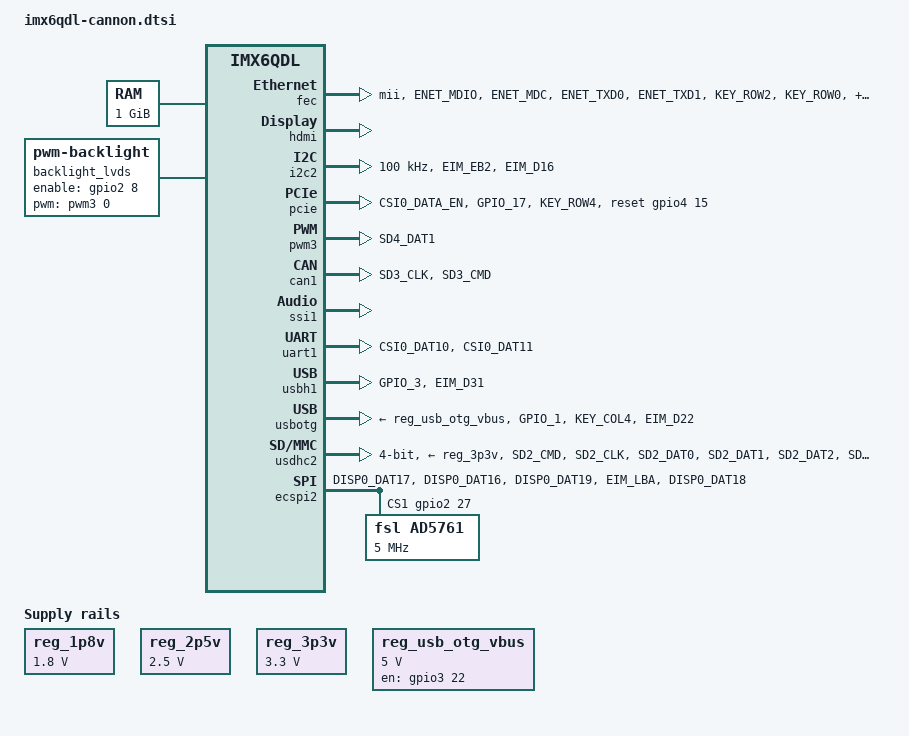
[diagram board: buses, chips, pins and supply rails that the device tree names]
/*
 * Copyright (c) Automata GmbH & Co. KG
 * Author: Hichem Ben Fekih <hfekih@cannon.com>
 */
/ {

	aliases {
		mxcfb0 = &mxcfb1;
		mxcfb1 = &mxcfb2;
	};

	memory {
		reg = <0x10000000 0x40000000>;
	};


	regulators {
		compatible = "simple-bus";

		reg_1p8v: 1p8v {
			compatible = "regulator-fixed";
			regulator-name = "1P8V";
			regulator-min-microvolt = <1800000>;
			regulator-max-microvolt = <1800000>;
			regulator-always-on;
		};

		reg_2p5v: 2p5v {
			compatible = "regulator-fixed";
			regulator-name = "2P5V";
			regulator-min-microvolt = <2500000>;
			regulator-max-microvolt = <2500000>;
			regulator-always-on;
		};

		reg_3p3v: 3p3v {
			compatible = "regulator-fixed";
			regulator-name = "3P3V";
			regulator-min-microvolt = <3300000>;
			regulator-max-microvolt = <3300000>;
			regulator-always-on;
		};

		reg_usb_otg_vbus: usb_otg_vbus {
			compatible = "regulator-fixed";
			regulator-name = "usb_otg_vbus";
			regulator-min-microvolt = <5000000>;
			regulator-max-microvolt = <5000000>;
			enable-active-high;
			gpio = <&gpio3 22 0>;
		};
	};


	

#if 0
	sound {
		compatible = "fsl,imx6-wandboard-sgtl5000", 
                             "fsl,imx-audio-sgtl5000";
		model = "sgtl5000-audio";
		cpu-dai = <&ssi1>;
		audio-codec = <&codec>;
		audio-routing =
			"MIC_IN", "Mic Jack",
			"Mic Jack", "Mic Bias",
			"Headphone Jack", "HP_OUT";
		mux-int-port = <1>;
		mux-ext-port = <3>;
	};

    sound-spdif {
            compatible = "fsl,imx-audio-spdif";
            model = "imx-spdif";
            spdif-controller = <&spdif>;
            spdif-out;
    };

	sound-hdmi {
		compatible = "fsl,imx6q-audio-hdmi",
			     "fsl,imx-audio-hdmi";
		model = "imx-audio-hdmi";
		hdmi-controller = <&hdmi_audio>;
	};

#endif
	
	mxcfb1: fb@0 {
		compatible = "fsl,mxc_sdc_fb";
		disp_dev = "ldb";
		interface_pix_fmt = "RGB24";
		default_bpp = <32>;
		int_clk = <0>;
		late_init = <0>;
		status = "okay";
	};

    mxcfb2: fb@1 {
		compatible = "fsl,mxc_sdc_fb";
		disp_dev = "hdmi";
		interface_pix_fmt = "RGB24";
		mode_str ="1920x1080M@60";
		default_bpp = <32>;
		int_clk = <0>;
		late_init = <0>;
		status = "okay";
    };

	backlight_lvds {
		compatible = "pwm-backlight";
		pwms = <&pwm3 0 5000000>;
		brightness-levels = <0 4 8 16 32 64 128 255>;
		default-brightness-level = <7>;
		enable-gpios = <&gpio2 8 0>;
	};

#if 0
	v4l2_cap_0 {
		compatible = "fsl,imx6q-v4l2-capture";
		ipu_id = <0>;
		csi_id = <0>;
		mclk_source = <0>;
		status = "okay";
	};

	v4l2_out {
		compatible = "fsl,mxc_v4l2_output";
		status = "okay";
	};
#endif
};

#if 0
&audmux {
	pinctrl-names = "default";
	pinctrl-0 = <&pinctrl_audmux_2>;
	status = "okay";
};
#endif

&fec {
	pinctrl-names = "default";
	pinctrl-0 = <&pinctrl_enet>;
	phy-mode = "mii";
	status = "okay";
};




&hdmi {
	ddc-i2c-bus = <&i2c2>;
	status = "okay";
};

&i2c2 {
	clock-frequency = <100000>;
	pinctrl-names = "default";
	pinctrl-0 = <&pinctrl_i2c2>;
	status = "okay";
};


/*
For reference here, the PAD_CTL bitfield definition from
Documentation/devicetree/bindings/pinctrl/fsl,imx6q-pinctrl.txt

CONFIG bits definition:
PAD_CTL_HYS                     (1 << 16)
PAD_CTL_PUS_100K_DOWN           (0 << 14)
PAD_CTL_PUS_47K_UP              (1 << 14)
PAD_CTL_PUS_100K_UP             (2 << 14)
PAD_CTL_PUS_22K_UP              (3 << 14)
PAD_CTL_PUE                     (1 << 13)
PAD_CTL_PKE                     (1 << 12)
PAD_CTL_ODE                     (1 << 11)
PAD_CTL_SPEED_LOW               (1 << 6)
PAD_CTL_SPEED_MED               (2 << 6)
PAD_CTL_SPEED_HIGH              (3 << 6)
PAD_CTL_DSE_DISABLE             (0 << 3)
PAD_CTL_DSE_240ohm              (1 << 3)
PAD_CTL_DSE_120ohm              (2 << 3)
PAD_CTL_DSE_80ohm               (3 << 3)
PAD_CTL_DSE_60ohm               (4 << 3)
PAD_CTL_DSE_48ohm               (5 << 3)
PAD_CTL_DSE_40ohm               (6 << 3)
PAD_CTL_DSE_34ohm               (7 << 3)
PAD_CTL_SRE_FAST                (1 << 0)
PAD_CTL_SRE_SLOW                (0 << 0)

Example, the Control Pad Setting

    0x0f0b0

corresponds to:

   0b1111000010110000

which is:

   PAD_CTL_PUS_22K_UP | PAD_CTL_PUE | PAD_CTL_PKE |
   PAD_CTL_SPEED_MED | PAD_CTL_DSE_40ohm

For more information about this, refer to the IOMUXC section of the i.MX6
reference manual.

*/

&iomuxc {

	pinctrl-names = "default";
	pinctrl-0 = <&pinctrl_hog_1>;

#if 0
	audmux {
		pinctrl_audmux_1: audmux-1 {
			fsl,pins = <
				MX6QDL_PAD_SD2_DAT0__AUD4_RXD  0x130b0
				MX6QDL_PAD_SD2_DAT3__AUD4_TXC  0x130b0
				MX6QDL_PAD_SD2_DAT2__AUD4_TXD  0x110b0
				MX6QDL_PAD_SD2_DAT1__AUD4_TXFS 0x130b0
			>;
		};

		pinctrl_audmux_2: audmux-2 {
			fsl,pins = <
				MX6QDL_PAD_CSI0_DAT7__AUD3_RXD  0x130b0
				MX6QDL_PAD_CSI0_DAT4__AUD3_TXC  0x130b0
				MX6QDL_PAD_CSI0_DAT5__AUD3_TXD  0x110b0
				MX6QDL_PAD_CSI0_DAT6__AUD3_TXFS 0x130b0
			>;
		};

		pinctrl_audmux_3: audmux-3 {
			fsl,pins = <
				MX6QDL_PAD_DISP0_DAT16__AUD5_TXC  0x130b0
				MX6QDL_PAD_DISP0_DAT18__AUD5_TXFS 0x130b0
				MX6QDL_PAD_DISP0_DAT19__AUD5_RXD  0x130b0
			>;
		};
	};

#endif

	ecspi1 {
		pinctrl_ecspi1: ecspi1grp {
			fsl,pins = <
				MX6QDL_PAD_CSI0_DAT6__ECSPI1_MISO 0x100b1
				MX6QDL_PAD_CSI0_DAT5__ECSPI1_MOSI 0x100b1
				MX6QDL_PAD_CSI0_DAT4__ECSPI1_SCLK 0x100b1
				MX6QDL_PAD_CSI0_DAT7__GPIO5_IO25  0x000f0b0
				MX6QDL_PAD_EIM_D19__GPIO3_IO19  0x000f0b0
			>;
		};
	};

	ecspi2 {
		pinctrl_ecspi2: ecspi2grp {
			fsl,pins = <
				MX6QDL_PAD_DISP0_DAT17__ECSPI2_MISO 0x100b1
				MX6QDL_PAD_DISP0_DAT16__ECSPI2_MOSI 0x100b1
				MX6QDL_PAD_DISP0_DAT19__ECSPI2_SCLK 0x100b1
				MX6QDL_PAD_EIM_LBA__GPIO2_IO27  0x000f0b0
				MX6QDL_PAD_DISP0_DAT18__GPIO5_IO12  0x000f0b0
			>;
		};
	};

	ecspi3 {
		pinctrl_ecspi3: ecspi3grp {
			fsl,pins = <
				MX6QDL_PAD_DISP0_DAT2__ECSPI3_MISO 0x100b1
				MX6QDL_PAD_DISP0_DAT1__ECSPI3_MOSI 0x100b1
				MX6QDL_PAD_DISP0_DAT0__ECSPI3_SCLK 0x100b1
				/* cs */
				MX6QDL_PAD_DISP0_DAT3__GPIO4_IO24  0x4001b0b5
			>;
		};
	};

	enet {
		pinctrl_enet: enetgrp {
			fsl,pins = <
				MX6QDL_PAD_ENET_MDIO__ENET_MDIO       0x1b0b0
				MX6QDL_PAD_ENET_MDC__ENET_MDC         0x1b0b0
				MX6QDL_PAD_ENET_TXD0__ENET_TX_DATA0   0x1b0b0
				MX6QDL_PAD_ENET_TXD1__ENET_TX_DATA1   0x1b0b0
				MX6QDL_PAD_KEY_ROW2__ENET_TX_DATA2    0x1b0b0
				MX6QDL_PAD_KEY_ROW0__ENET_TX_DATA3    0x1b0b0
				MX6QDL_PAD_ENET_REF_CLK__ENET_TX_CLK  0x1b0b0
				MX6QDL_PAD_GPIO_18__ENET_RX_CLK       0x1b0b0
				MX6QDL_PAD_ENET_RXD0__ENET_RX_DATA0   0x1b0b0
				MX6QDL_PAD_ENET_RXD1__ENET_RX_DATA1   0x1b0b0
				MX6QDL_PAD_KEY_COL2__ENET_RX_DATA2    0x1b0b0
				MX6QDL_PAD_KEY_COL0__ENET_RX_DATA3    0x1b0b0
				MX6QDL_PAD_ENET_TX_EN__ENET_TX_EN     0x1b0b0
				MX6QDL_PAD_ENET_CRS_DV__ENET_RX_EN    0x1b0b0
				MX6QDL_PAD_ENET_RX_ER__ENET_RX_ER     0x1b0b0
				MX6QDL_PAD_KEY_ROW1__ENET_COL         0x1b0b0
				MX6QDL_PAD_KEY_COL3__ENET_CRS         0x1b0b0
			>;
		};
#if 0
		pinctrl_enet_irq: enetirqgrp {
			fsl,pins = <
				MX6QDL_PAD_GPIO_6__ENET_IRQ	      0x000b1
			>;
		};
#endif
	};

#if 0
	esai {
		pinctrl_esai_1: esaigrp-1 {
			fsl,pins = <
				MX6QDL_PAD_ENET_RXD0__ESAI_TX_HF_CLK 0x1b030
				MX6QDL_PAD_ENET_CRS_DV__ESAI_TX_CLK  0x1b030
				MX6QDL_PAD_ENET_RXD1__ESAI_TX_FS     0x1b030
				MX6QDL_PAD_ENET_TX_EN__ESAI_TX3_RX2  0x1b030
				MX6QDL_PAD_ENET_TXD1__ESAI_TX2_RX3   0x1b030
				MX6QDL_PAD_ENET_TXD0__ESAI_TX4_RX1   0x1b030
				MX6QDL_PAD_ENET_MDC__ESAI_TX5_RX0    0x1b030
				MX6QDL_PAD_NANDF_CS2__ESAI_TX0       0x1b030
				MX6QDL_PAD_NANDF_CS3__ESAI_TX1       0x1b030
			>;
		};

		pinctrl_esai_2: esaigrp-2 {
			fsl,pins = <
				MX6QDL_PAD_ENET_CRS_DV__ESAI_TX_CLK 0x1b030
				MX6QDL_PAD_ENET_RXD1__ESAI_TX_FS    0x1b030
				MX6QDL_PAD_ENET_TX_EN__ESAI_TX3_RX2 0x1b030
				MX6QDL_PAD_GPIO_5__ESAI_TX2_RX3     0x1b030
				MX6QDL_PAD_ENET_TXD0__ESAI_TX4_RX1  0x1b030
				MX6QDL_PAD_ENET_MDC__ESAI_TX5_RX0   0x1b030
				MX6QDL_PAD_GPIO_17__ESAI_TX0        0x1b030
				MX6QDL_PAD_NANDF_CS3__ESAI_TX1      0x1b030
				MX6QDL_PAD_ENET_MDIO__ESAI_RX_CLK   0x1b030
				MX6QDL_PAD_GPIO_9__ESAI_RX_FS       0x1b030
			>;
		};
	};
#endif

	can1 {
		pinctrl_flexcan1: flexcan1grp {
			fsl,pins = <
				MX6QDL_PAD_SD3_CLK__FLEXCAN1_RX 0x80000000
				MX6QDL_PAD_SD3_CMD__FLEXCAN1_TX 0x80000000
			>;
		};
	};


#if 0
	flexcan2 {
		pinctrl_flexcan2_1: flexcan2grp-1 {
			fsl,pins = <
				MX6QDL_PAD_KEY_COL4__FLEXCAN2_TX 0x80000000
				MX6QDL_PAD_KEY_ROW4__FLEXCAN2_RX 0x80000000
			>;
		};
	};

	gpmi-nand {
		pinctrl_gpmi_nand_1: gpmi-nand-1 {
			fsl,pins = <
				MX6QDL_PAD_NANDF_CLE__NAND_CLE     0xb0b1
				MX6QDL_PAD_NANDF_ALE__NAND_ALE     0xb0b1
				MX6QDL_PAD_NANDF_WP_B__NAND_WP_B   0xb0b1
				MX6QDL_PAD_NANDF_RB0__NAND_READY_B 0xb000
				MX6QDL_PAD_NANDF_CS0__NAND_CE0_B   0xb0b1
				MX6QDL_PAD_NANDF_CS1__NAND_CE1_B   0xb0b1
				MX6QDL_PAD_SD4_CMD__NAND_RE_B      0xb0b1
				MX6QDL_PAD_SD4_CLK__NAND_WE_B      0xb0b1
				MX6QDL_PAD_NANDF_D0__NAND_DATA00   0xb0b1
				MX6QDL_PAD_NANDF_D1__NAND_DATA01   0xb0b1
				MX6QDL_PAD_NANDF_D2__NAND_DATA02   0xb0b1
				MX6QDL_PAD_NANDF_D3__NAND_DATA03   0xb0b1
				MX6QDL_PAD_NANDF_D4__NAND_DATA04   0xb0b1
				MX6QDL_PAD_NANDF_D5__NAND_DATA05   0xb0b1
				MX6QDL_PAD_NANDF_D6__NAND_DATA06   0xb0b1
				MX6QDL_PAD_NANDF_D7__NAND_DATA07   0xb0b1
				MX6QDL_PAD_SD4_DAT0__NAND_DQS      0x00b1
			>;
		};
	};
#endif
	hdmi_hdcp {
		pinctrl_hdmi_hdcp_1: hdmihdcpgrp {
			fsl,pins = <
				MX6QDL_PAD_EIM_EB2__HDMI_TX_DDC_SCL 0x4001b8b1
				MX6QDL_PAD_EIM_D16__HDMI_TX_DDC_SDA 0x4001b8b1
			>;
		};
	};

	hdmi_cec {
		pinctrl_hdmi_cec: hdmicecgrp {
			fsl,pins = <
				MX6QDL_PAD_EIM_A25__HDMI_TX_CEC_LINE 0x1f8b0
			>;
		};
	};

	i2c1 {
		pinctrl_i2c1: i2c1grp {
			fsl,pins = <
				MX6QDL_PAD_EIM_D21__I2C1_SCL 0x4001b8b1
				MX6QDL_PAD_EIM_D28__I2C1_SDA 0x4001b8b1
			>;
		};
	};

	i2c2 {
		pinctrl_i2c2: i2c2grp {
			fsl,pins = <
				MX6QDL_PAD_EIM_EB2__I2C2_SCL 0x4001b8b1
				MX6QDL_PAD_EIM_D16__I2C2_SDA 0x4001b8b1
			>;
		};
	};

#if 0
	i2c3 {
		pinctrl_i2c3: i2c3grp {
			fsl,pins = <
				MX6QDL_PAD_GPIO_5__I2C3_SCL  0x4001b8b1
				MX6QDL_PAD_GPIO_16__I2C3_SDA 0x4001b8b1
			>;
		};
	};

	ipu1 {

		pinctrl_ipu1_1: ipu1grp-1 {
			fsl,pins = <
				MX6QDL_PAD_DI0_DISP_CLK__IPU1_DI0_DISP_CLK 0x10
				MX6QDL_PAD_DI0_PIN15__IPU1_DI0_PIN15       0x10
				MX6QDL_PAD_DI0_PIN2__IPU1_DI0_PIN02        0x10
				MX6QDL_PAD_DI0_PIN3__IPU1_DI0_PIN03        0x10
				MX6QDL_PAD_DI0_PIN4__IPU1_DI0_PIN04        0x80000000
				MX6QDL_PAD_DISP0_DAT0__IPU1_DISP0_DATA00   0x10
				MX6QDL_PAD_DISP0_DAT1__IPU1_DISP0_DATA01   0x10
				MX6QDL_PAD_DISP0_DAT2__IPU1_DISP0_DATA02   0x10
				MX6QDL_PAD_DISP0_DAT3__IPU1_DISP0_DATA03   0x10
				MX6QDL_PAD_DISP0_DAT4__IPU1_DISP0_DATA04   0x10
				MX6QDL_PAD_DISP0_DAT5__IPU1_DISP0_DATA05   0x10
				MX6QDL_PAD_DISP0_DAT6__IPU1_DISP0_DATA06   0x10
				MX6QDL_PAD_DISP0_DAT7__IPU1_DISP0_DATA07   0x10
				MX6QDL_PAD_DISP0_DAT8__IPU1_DISP0_DATA08   0x10
				MX6QDL_PAD_DISP0_DAT9__IPU1_DISP0_DATA09   0x10
				MX6QDL_PAD_DISP0_DAT10__IPU1_DISP0_DATA10  0x10
				MX6QDL_PAD_DISP0_DAT11__IPU1_DISP0_DATA11  0x10
				MX6QDL_PAD_DISP0_DAT12__IPU1_DISP0_DATA12  0x10
				MX6QDL_PAD_DISP0_DAT13__IPU1_DISP0_DATA13  0x10
				MX6QDL_PAD_DISP0_DAT14__IPU1_DISP0_DATA14  0x10
				MX6QDL_PAD_DISP0_DAT15__IPU1_DISP0_DATA15  0x10
				MX6QDL_PAD_DISP0_DAT16__IPU1_DISP0_DATA16  0x10
				MX6QDL_PAD_DISP0_DAT17__IPU1_DISP0_DATA17  0x10
				MX6QDL_PAD_DISP0_DAT18__IPU1_DISP0_DATA18  0x10
				MX6QDL_PAD_DISP0_DAT19__IPU1_DISP0_DATA19  0x10
				MX6QDL_PAD_DISP0_DAT20__IPU1_DISP0_DATA20  0x10
				MX6QDL_PAD_DISP0_DAT21__IPU1_DISP0_DATA21  0x10
				MX6QDL_PAD_DISP0_DAT22__IPU1_DISP0_DATA22  0x10
				MX6QDL_PAD_DISP0_DAT23__IPU1_DISP0_DATA23  0x10
			>;
		};

		pinctrl_ipu1_2: ipu1grp-2 { /* parallel camera */
			fsl,pins = <
				MX6QDL_PAD_CSI0_DAT12__IPU1_CSI0_DATA12    0x80000000
				MX6QDL_PAD_CSI0_DAT13__IPU1_CSI0_DATA13    0x80000000
				MX6QDL_PAD_CSI0_DAT14__IPU1_CSI0_DATA14    0x80000000
				MX6QDL_PAD_CSI0_DAT15__IPU1_CSI0_DATA15    0x80000000
				MX6QDL_PAD_CSI0_DAT16__IPU1_CSI0_DATA16    0x80000000
				MX6QDL_PAD_CSI0_DAT17__IPU1_CSI0_DATA17    0x80000000
				MX6QDL_PAD_CSI0_DAT18__IPU1_CSI0_DATA18    0x80000000
				MX6QDL_PAD_CSI0_DAT19__IPU1_CSI0_DATA19    0x80000000
				MX6QDL_PAD_CSI0_DATA_EN__IPU1_CSI0_DATA_EN 0x80000000
				MX6QDL_PAD_CSI0_PIXCLK__IPU1_CSI0_PIXCLK   0x80000000
				MX6QDL_PAD_CSI0_MCLK__IPU1_CSI0_HSYNC      0x80000000
				MX6QDL_PAD_CSI0_VSYNC__IPU1_CSI0_VSYNC     0x80000000
			>;
		};

		pinctrl_ipu1_3: ipu1grp-3 { /* parallel port 16-bit */
			fsl,pins = <
				MX6QDL_PAD_CSI0_DAT4__IPU1_CSI0_DATA04   0x80000000
				MX6QDL_PAD_CSI0_DAT5__IPU1_CSI0_DATA05   0x80000000
				MX6QDL_PAD_CSI0_DAT6__IPU1_CSI0_DATA06   0x80000000
				MX6QDL_PAD_CSI0_DAT7__IPU1_CSI0_DATA07   0x80000000
				MX6QDL_PAD_CSI0_DAT8__IPU1_CSI0_DATA08   0x80000000
				MX6QDL_PAD_CSI0_DAT9__IPU1_CSI0_DATA09   0x80000000
				MX6QDL_PAD_CSI0_DAT10__IPU1_CSI0_DATA10  0x80000000
				MX6QDL_PAD_CSI0_DAT11__IPU1_CSI0_DATA11  0x80000000
				MX6QDL_PAD_CSI0_DAT12__IPU1_CSI0_DATA12  0x80000000
				MX6QDL_PAD_CSI0_DAT13__IPU1_CSI0_DATA13  0x80000000
				MX6QDL_PAD_CSI0_DAT14__IPU1_CSI0_DATA14  0x80000000
				MX6QDL_PAD_CSI0_DAT15__IPU1_CSI0_DATA15  0x80000000
				MX6QDL_PAD_CSI0_DAT16__IPU1_CSI0_DATA16  0x80000000
				MX6QDL_PAD_CSI0_DAT17__IPU1_CSI0_DATA17  0x80000000
				MX6QDL_PAD_CSI0_DAT18__IPU1_CSI0_DATA18  0x80000000
				MX6QDL_PAD_CSI0_DAT19__IPU1_CSI0_DATA19  0x80000000
				MX6QDL_PAD_CSI0_PIXCLK__IPU1_CSI0_PIXCLK 0x80000000
				MX6QDL_PAD_CSI0_MCLK__IPU1_CSI0_HSYNC    0x80000000
				MX6QDL_PAD_CSI0_VSYNC__IPU1_CSI0_VSYNC   0x80000000
			>;
		};

	};

	mlb {
		pinctrl_mlb_1: mlbgrp-1 {
			fsl,pins = <
				MX6QDL_PAD_GPIO_3__MLB_CLK  0x71
				MX6QDL_PAD_GPIO_6__MLB_SIG  0x71
				MX6QDL_PAD_GPIO_2__MLB_DATA 0x71
			>;
		};

		pinctrl_mlb_2: mlbgrp-2 {
			fsl,pins = <
				MX6QDL_PAD_ENET_TXD1__MLB_CLK 0x80000000
				MX6QDL_PAD_GPIO_6__MLB_SIG    0x80000000
				MX6QDL_PAD_GPIO_2__MLB_DATA   0x80000000
			>;
		};
	};

	pwm1 {
		pinctrl_pwm1_1: pwm1grp-1 {
			fsl,pins = <
				MX6QDL_PAD_SD1_DAT3__PWM1_OUT 0x1b0b1
			>;
		};
	};

#endif
	pwm3 {
		pinctrl_pwm3: pwm3grp {
			fsl,pins = <
				MX6QDL_PAD_SD4_DAT1__PWM3_OUT 0x1b0b1
			>;
		};
	};

	uart1 {
		pinctrl_uart1: uart1grp-1 {
			fsl,pins = <
				MX6QDL_PAD_CSI0_DAT10__UART1_TX_DATA 0x1b0b1
				MX6QDL_PAD_CSI0_DAT11__UART1_RX_DATA 0x1b0b1
			>;
		};
	};
#if 0
	spdif {
		pinctrl_spdif_1: spdifgrp-1 {
			fsl,pins = <
				MX6QDL_PAD_KEY_COL3__SPDIF_IN 0x1b0b0
			>;
		};

		pinctrl_spdif_2: spdifgrp-2 {
			fsl,pins = <
				MX6QDL_PAD_GPIO_16__SPDIF_IN  0x1b0b0
				MX6QDL_PAD_GPIO_17__SPDIF_OUT 0x1b0b0
			>;
		};
	};

	uart2 {
		pinctrl_uart2_1: uart2grp-1 {
			fsl,pins = <
				MX6QDL_PAD_EIM_D26__UART2_TX_DATA 0x1b0b1
				MX6QDL_PAD_EIM_D27__UART2_RX_DATA 0x1b0b1
			>;
		};

		pinctrl_uart2_2: uart2grp-2 { /* DTE mode */
			fsl,pins = <
				MX6QDL_PAD_EIM_D26__UART2_RX_DATA   0x1b0b1
				MX6QDL_PAD_EIM_D27__UART2_TX_DATA   0x1b0b1
				MX6QDL_PAD_EIM_D28__UART2_DTE_CTS_B 0x1b0b1
				MX6QDL_PAD_EIM_D29__UART2_DTE_RTS_B 0x1b0b1
			>;
		};
	};

#endif

	uart3 {
		pinctrl_uart3: uart3grp {
			fsl,pins = <
				MX6QDL_PAD_SD4_CLK__UART3_RX_DATA 0x1b0b1
				MX6QDL_PAD_SD4_CMD__UART3_TX_DATA 0x1b0b1
//				MX6QDL_PAD_EIM_D30__UART3_CTS_B   0x1b0b1
//				MX6QDL_PAD_EIM_EB3__UART3_RTS_B   0x1b0b1
			>;
		};
	};

#if 0
	uart4 {
		pinctrl_uart4_1: uart4grp-1 {
			fsl,pins = <
				MX6QDL_PAD_KEY_COL0__UART4_TX_DATA 0x1b0b1
				MX6QDL_PAD_KEY_ROW0__UART4_RX_DATA 0x1b0b1
			>;
		};
	};

	uart5 {
		pinctrl_uart5_1: uart5grp-1 {
			fsl,pins = <
				MX6QDL_PAD_KEY_COL1__UART5_TX_DATA 0x1b0b1
				MX6QDL_PAD_KEY_ROW1__UART5_RX_DATA 0x1b0b1
				MX6QDL_PAD_KEY_COL4__UART5_RTS_B   0x1b0b1
				MX6QDL_PAD_KEY_ROW4__UART5_CTS_B   0x1b0b1
			>;
		};

		pinctrl_uart5dte_1: uart5dtegrp-1 {
			fsl,pins = <
				MX6QDL_PAD_KEY_ROW1__UART5_TX_DATA 0x1b0b1
				MX6QDL_PAD_KEY_COL1__UART5_RX_DATA 0x1b0b1
				MX6QDL_PAD_KEY_ROW4__UART5_RTS_B   0x1b0b1
				MX6QDL_PAD_KEY_COL4__UART5_CTS_B   0x1b0b1
			>;
		};
	};
#endif
	usbotg {
		pinctrl_usbotg: usbotggrp {
			fsl,pins = <
				MX6QDL_PAD_GPIO_1__USB_OTG_ID   0x17059
				MX6QDL_PAD_KEY_COL4__USB_OTG_OC 0x0001B0B0
				MX6QDL_PAD_EIM_D22__GPIO3_IO22  0x80000000
			>;
		};
	};

	usbh1 {
		pinctrl_usbh1: usbh1grp {
			fsl,pins = <
				MX6QDL_PAD_GPIO_3__USB_H1_OC   0x0001B0B0
				MX6QDL_PAD_EIM_D31__USB_H1_PWR 0x000130B0
			>;
		};
	};

#if 0
	usbh2 {
		pinctrl_usbh2_1: usbh2grp-1 {
			fsl,pins = <
				MX6QDL_PAD_RGMII_TXC__USB_H2_DATA      0x40013030
				MX6QDL_PAD_RGMII_TX_CTL__USB_H2_STROBE 0x40013030
			>;
		};

		pinctrl_usbh2_2: usbh2grp-2 {
			fsl,pins = <
				MX6QDL_PAD_RGMII_TX_CTL__USB_H2_STROBE 0x40017030
			>;
		};
	};

	usbh3 {
		pinctrl_usbh3_1: usbh3grp-1 {
			fsl,pins = <
				MX6QDL_PAD_RGMII_RX_CTL__USB_H3_DATA 0x40013030
				MX6QDL_PAD_RGMII_RXC__USB_H3_STROBE  0x40013030
			>;
		};

		pinctrl_usbh3_2: usbh3grp-2 {
			fsl,pins = <
				MX6QDL_PAD_RGMII_RXC__USB_H3_STROBE 0x40017030
			>;
		};
	};

	usdhc1 {
		pinctrl_usdhc1_1: usdhc1grp-1 {
			fsl,pins = <
				MX6QDL_PAD_SD1_CMD__SD1_CMD    0x17071
				MX6QDL_PAD_SD1_CLK__SD1_CLK    0x10071
				MX6QDL_PAD_SD1_DAT0__SD1_DATA0 0x17071
				MX6QDL_PAD_SD1_DAT1__SD1_DATA1 0x17071
				MX6QDL_PAD_SD1_DAT2__SD1_DATA2 0x17071
				MX6QDL_PAD_SD1_DAT3__SD1_DATA3 0x17071
			>;
		};
	};
#endif
	usdhc2 {
		pinctrl_usdhc2_2: usdhc2grp {
			fsl,pins = <
				MX6QDL_PAD_SD2_CMD__SD2_CMD    0x17059
				MX6QDL_PAD_SD2_CLK__SD2_CLK    0x10059
				MX6QDL_PAD_SD2_DAT0__SD2_DATA0 0x17059
				MX6QDL_PAD_SD2_DAT1__SD2_DATA1 0x17059
				MX6QDL_PAD_SD2_DAT2__SD2_DATA2 0x17059
				MX6QDL_PAD_SD2_DAT3__SD2_DATA3 0x17059
			>;
		};
	};

	pcie {
		pinctrl_pcie: pciegrp {
			fsl,pins = <
				MX6QDL_PAD_CSI0_DATA_EN__GPIO5_IO20 0x80000000
				MX6QDL_PAD_GPIO_17__GPIO7_IO12      0x80000000
				MX6QDL_PAD_KEY_ROW4__GPIO4_IO15 0x80000000
			>;
		};
	};

	imx6qdl-wandboard {
		pinctrl_hog_1: hoggrp-1 {
			fsl,pins = <
				MX6QDL_PAD_GPIO_0__CCM_CLKO1     	0x130b0
				MX6QDL_PAD_GPIO_4__GPIO1_IO04		0x80000000	/* USDHC2 CD */
				MX6QDL_PAD_SD4_DAT0__GPIO2_IO08     0x80000000	/* lvds backlight enable */

				/* digital input */
				MX6QDL_PAD_DI0_DISP_CLK__GPIO4_IO16 0x4001b0b5
				MX6QDL_PAD_DI0_PIN15__GPIO4_IO17    0x4001b0b5
				MX6QDL_PAD_DI0_PIN2__GPIO4_IO18     0x4001b0b5
				MX6QDL_PAD_DI0_PIN3__GPIO4_IO19     0x4001b0b5

				/* digital output */
                MX6QDL_PAD_DISP0_DAT4__GPIO4_IO25   0x4001b0b5
                MX6QDL_PAD_DISP0_DAT5__GPIO4_IO26   0x4001b0b5
                MX6QDL_PAD_DISP0_DAT6__GPIO4_IO27   0x4001b0b5
                MX6QDL_PAD_DISP0_DAT8__GPIO4_IO29   0x4001b0b5
                MX6QDL_PAD_DISP0_DAT9__GPIO4_IO30   0x4001b0b5
                MX6QDL_PAD_DISP0_DAT10__GPIO4_IO31  0x4001b0b5
                MX6QDL_PAD_SD3_DAT6__GPIO6_IO18     0x4001b0b5
                MX6QDL_PAD_SD3_DAT7__GPIO6_IO17     0x4001b0b5

				/* leds */
				MX6QDL_PAD_DISP0_DAT12__GPIO5_IO06  0x4001b0b5
                MX6QDL_PAD_GPIO_9__GPIO1_IO09       0x4001b0b5
                MX6QDL_PAD_NANDF_CS2__GPIO6_IO15    0x4001b0b5

				/* dip */
				MX6QDL_PAD_SD3_DAT2__GPIO7_IO06     0x4001b0b5
				MX6QDL_PAD_SD3_DAT3__GPIO7_IO07     0x4001b0b5
				MX6QDL_PAD_EIM_DA4__GPIO3_IO04      0x4001b0b5
				MX6QDL_PAD_EIM_DA7__GPIO3_IO07      0x4001b0b5

				/* gpios */
				MX6QDL_PAD_CSI0_VSYNC__GPIO5_IO21   0x4001b0b5
				MX6QDL_PAD_CSI0_PIXCLK__GPIO5_IO18  0x4001b0b5
				MX6QDL_PAD_KEY_COL1__GPIO4_IO08     0x4001b0b5

				/* hw revision */
				MX6QDL_PAD_DI0_PIN4__GPIO4_IO20     0x4001b0b5
				MX6QDL_PAD_DISP0_DAT7__GPIO4_IO28   0x4001b0b5
				MX6QDL_PAD_DISP0_DAT14__GPIO5_IO08  0x4001b0b5

				/* an output */
				MX6QDL_PAD_SD4_DAT4__GPIO2_IO12     0x4001b0b5
				MX6QDL_PAD_SD4_DAT7__GPIO2_IO15     0x4001b0b5
				MX6QDL_PAD_EIM_CS0__GPIO2_IO23      0x4001b0b5
				MX6QDL_PAD_EIM_CS1__GPIO2_IO24      0x4001b0b5

			>;
		};
	};
};

&ldb {
	status = "disabled";
	lvds-channel@0 {
		crtc = "ipu1-di0";
		fsl,data-mapping = "spwg";
		fsl,data-width = <24>;
		primary;
		status = "disabled";
	};
	lvds-channel@1 {
		crtc = "ipu1-di0";
		status = "disabled";
	};
};

&vpu {
	status = "disabled";
};

#if 0
&epdc {
	status = "disabled";
};

&mipi_csi {
	ipu_id = <0>;
	csi_id = <0>;
	v_channel = <0>;
	lanes = <2>;
	status = "okay";
};
#endif

&pcie {
	pinctrl-names = "default";
	pinctrl-0 = <&pinctrl_pcie>;
	power-on-gpio = <&gpio5 20 0>; /* WAKE# */
	disable-gpio = <&gpio7 12 0>;    /*  WDIS# */
	reset-gpio = <&gpio4 15 0>; /* PERST#*/
	status = "okay";
};


/*&pwm1 {
	pinctrl-names = "default";
	pinctrl-0 = <&pinctrl_pwm1_1>;
	status = "okay";
};*/


&pwm3 {
	pinctrl-names = "default";
	pinctrl-0 = <&pinctrl_pwm3>;
	status = "okay";
};

#if 0
&pwm4 {
	pinctrl-names = "default";
	pinctrl-0 = <&pinctrl_pwm4_2>;
	status = "okay";
};

&spdif {
        pinctrl-names = "default";
        pinctrl-0 = <&pinctrl_spdif_wand>;
	assigned-clocks = <&clks IMX6QDL_CLK_SPDIF_SEL>,
			  <&clks IMX6QDL_CLK_SPDIF_PODF>;
	assigned-clock-parents = <&clks IMX6QDL_CLK_PLL3_PFD3_454M>;
	assigned-clock-rates = <0>, <227368421>;
	status = "okay";
};

#endif


&can1 {
	pinctrl-names = "default";
    pinctrl-0 = <&pinctrl_flexcan1>;
	status = "okay";
};

&ssi1 {
	fsl,mode = "i2s-slave";
	status = "okay";
};

&uart1 {
	pinctrl-names = "default";
	pinctrl-0 = <&pinctrl_uart1>;
	status = "okay";
};

&usbh1 {
	pinctrl-names = "default";
	pinctrl-0 = <&pinctrl_usbh1>;
	status = "okay";
};

&usbotg {
	vbus-supply = <&reg_usb_otg_vbus>;
	pinctrl-names = "default";
	pinctrl-0 = <&pinctrl_usbotg>;
	status = "okay";
};


#if 0
&usdhc1 {  /* Baseboard microSD slot */
	pinctrl-names = "default";
	pinctrl-0 = <&pinctrl_usdhc1_1>;
	bus-width = <4>;
	vmmc-supply = <&reg_3p3v>;
	cd-gpios = <&gpio1 2 0>;
	status = "okay";
};



&usdhc3 { /* Module microSD slot */
	pinctrl-names = "default";
	pinctrl-0 = <&pinctrl_usdhc3_2>;
	vmmc-supply = <&reg_3p3v>;
        cd-gpios = <&gpio3 9 0>;
	status = "okay";
};

#endif

&usdhc2 {
	pinctrl-names = "default";
	pinctrl-0 = <&pinctrl_usdhc2_2>;
	bus-width = <4>;
	//non-removable;
	vmmc-supply = <&reg_3p3v>;
	keep-power-in-suspend;
	status = "okay";
};

&ecspi1 {
	fsl,spi-num-chipselects = <2>;
	cs-gpios = <&gpio5 25 0>, <&gpio3 19 0>;
	pinctrl-names = "default";
	pinctrl-0 = <&pinctrl_ecspi1>;
	status = "disabled";
};

&ecspi2 {
	fsl,spi-num-chipselects = <2>;
	cs-gpios = <&gpio5 12 0>, <&gpio2 27 0>;
	pinctrl-names = "default";
	pinctrl-0 = <&pinctrl_ecspi2>;
	status = "okay";

	ad5761: ad5761@1 {
		compatible = "fsl,ad5761";
		spi-cpha;
		spi-max-frequency = <5000000>;//20000000>;
		reg = <1>;
		status = "okay";
	};
};

&ecspi3 {
	fsl,spi-num-chipselects = <1>;
	cs-gpios = <&gpio4 24 0>;
	pinctrl-names = "default";
	pinctrl-0 = <&pinctrl_ecspi3>;
	status = "disabled";
};

